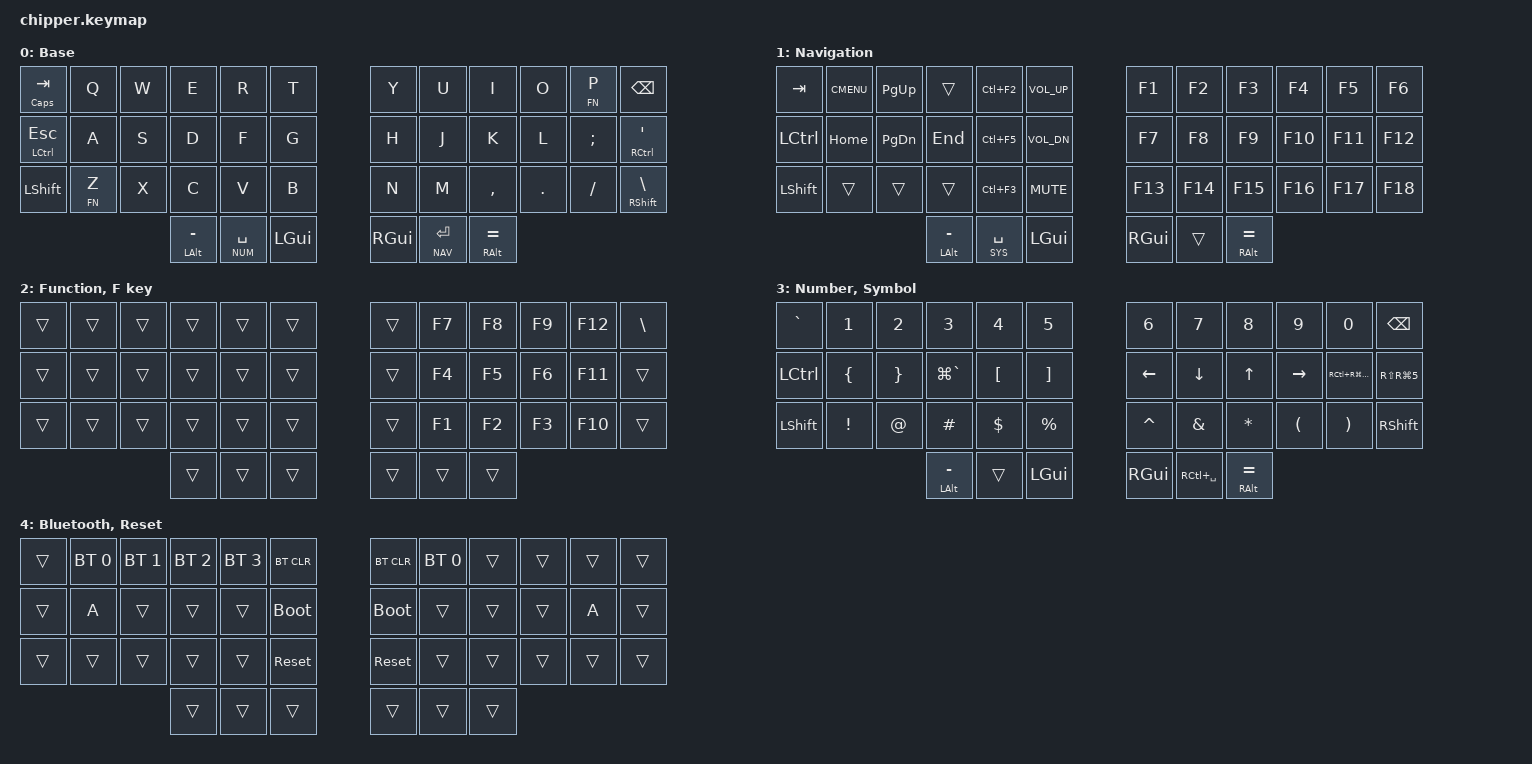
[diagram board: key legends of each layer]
// see https://zmk.dev/docs/keymaps
// see https://www.notion.so/lukan/2c5975d58577405cbcacdcdd84d68cf8

#include <behaviors.dtsi>
#include <dt-bindings/zmk/keys.h>
#include <dt-bindings/zmk/bt.h>
#include <dt-bindings/zmk/outputs.h>

#define XXX &none
#define ___ &trans

#define COMBO_TIMEOUT 60

#define DEF 0
#define NAV 1
#define FN 2
#define NUM 3
#define SYS 4

/ {
    macros {
	nayeon: nayeon {
            compatible = "zmk,behavior-macro";
            #binding-cells = <0>;
            bindings
                = <&macro_tap_time 10>
		,<&macro_tap &kp N &kp A &kp Y &kp E &kp O &kp N &kp RET>;
        };
    };
};

/ {
    combos {
        compatible = "zmk,combos";
	 combo_cw {
            timeout-ms = <COMBO_TIMEOUT>;
            key-positions = <6 30>;
            bindings = <&nayeon>;
        };
    };
};

/ {
        bht: balanced_hold_taps {
            compatible = "zmk,behavior-hold-tap";
            #binding-cells = <2>;
            tapping-term-ms = <280>;    // <---[[moderate duration]]
            flavor = "balanced";
            bindings = <&kp>, <&kp>;
            quick-tap-ms = <175>;       // repeat on tap-into-hold
            require-prior-idle-ms = <150>;
        };
    };
/ {
    conditional_layers {
        compatible = "zmk,conditional-layers";
        tri_layer {
            if-layers = <1 2>;
            then-layer = <4>;
        };
    };
};

/ {
        keymap {
                compatible = "zmk,keymap";

                DEF_layer {
                        display-name = "Base";
                        bindings = <
            //╭──────╮ ╭─────────────┬─────────────┬─────────────┬─────────────┬─────────────╮   ╭─────────────┬─────────────┬─────────────┬─────────────┬─────────────╮ ╭──────╮
&bht CAPS TAB              &kp Q         &kp W         &kp E         &kp R         &kp T             &kp Y         &kp U         &kp I         &kp O       &lt FN P      &kp BSPC
            //├──────┤ ├─────────────┼─────────────┼─────────────┼─────────────┼─────────────┤   ├─────────────┼──────[───────┼────────────┼─────────────┼─────────────┤ ├──────┤
&bht LCTRL ESC             &kp A         &kp S         &kp D         &kp F         &kp G             &kp H         &kp J         &kp K         &kp L       &kp SEMI      &bht RCTRL SQT
            //├──────┤ ├─────────────┼─────────────┼─────────────┼─────────────┼─────────────┤   ├─────────────┼─────────────┼─────────────┼─────────────┼─────────────┤ ├──────┤
&kp LSHFT                  &lt FN Z      &kp X         &kp C         &kp V         &kp B             &kp N         &kp M         &kp COMMA     &kp DOT     &kp SLASH     &bht RSHFT BACKSLASH
            //├──────┤ ╰─────────────┼─────────────┴─────────────┼─────────────┼─────────────┤   ├─────────────┼─────────────┼─────────────┴───────────────────────────╯ ├──────┤
                                                    &bht LALT MINUS  &lt NUM SPC   &kp LGUI          &kp RGUI     &lt NAV RET  &bht RALT EQUAL
             //                                    ╰────────────┼──────────────┴─────────────╯   ╰─────────────┴─────────────┼─────────────╯
                        >;
                };

                

                NAV_layer {
                        display-name = "Navigation";
                        bindings = <
//╭──────╮ ╭─────────────┬─────────────┬─────────────┬─────────────┬─────────────╮ ╭─────────────┬─────────────┬─────────────┬─────────────┬─────────────╮ ╭──────╮
&kp TAB        &kp K_CMENU    &kp PG_UP     ___           &kp LC(F2)  &kp C_VOL_UP      &kp F1        &kp F2        &kp F3        &kp F4       &kp F5       &kp F6 
//├──────┤ ├─────────────┼─────────────┼─────────────┼───Menu Bar──┼─────────────┤ ├─────────────┼─────────────┼─────────────┼─────────────┼─────────────┤ ├──────┤
&kp LCTRL      &kp HOME       &kp PG_DN     &kp END       &kp LC(F5)  &kp C_VOL_DN      &kp F7        &kp F8        &kp F9        &kp F10      &kp F11      &kp F12
//├──────┤ ├─────────────┼─────────────┼─────────────┼───Tool Bar──┼─────────────┤ ├─────────────┼─────────────┼─────────────┼─────────────┼─────────────┤ ├──────┤
&kp LSHFT      ___            ___           ___           &kp LC(F3)  &kp C_MUTE        &kp F13       &kp F14       &kp F15       &kp F16      &kp F17      &kp F18
//├──────┤ ╰─────────────┼─────────────┴─────────────┼─────Dock────┼─────────────┤ ├─────────────┼─────────────┼─────────────┴───────────────────────────╯ ├──────┤
                                         &bht LALT MINUS  &lt SYS SPC &kp LGUI          &kp RGUI       ___       &bht RALT EQUAL
//                                      ╰────────────╰─────────────┴─────────────╯ ╰─────────────┴─────────────╯─────────────╯                                           
                        >;
                };

                FN_layer {
                        display-name = "Function, F key";
                        bindings = <
//╭──────╮ ╭─────────────┬─────────────┬─────────────┬─────────────┬─────────────╮ ╭─────────────┬─────────────┬─────────────┬─────────────┬─────────────╮ ╭──────╮
    ___        ___         ___           ___           ___          ___              ___            &kp F7        &kp F8        &kp F9         &kp F12       &kp BACKSLASH
//├──────┤ ├─────────────┼─────────────┼─────────────┼─────────────┼─────────────┤ ├─────────────┼─────────────┼─────────────┼─────────────┼─────────────┤ ├──────┤
    ___        ___         ___           ___           ___          ___              ___            &kp F4        &kp F5        &kp F6         &kp F11       ___
//├──────┤ ├─────────────┼─────────────┼─────────────┼─────────────┼─────────────┤ ├─────────────┼─────────────┼─────────────┼─────────────┼─────────────┤ ├──────┤
    ___        ___         ___           ___           ___          ___              ___            &kp F1        &kp F2        &kp F3         &kp F10       ___
//├──────┤ ╰─────────────┼─────────────┴─────────────┼─────────────┼─────────────┤ ├─────────────┼─────────────┼─────────────┴───────────────────────────╯ ├──────┤
                                               ___        ___           ___            ___           ___           ___                                       
//                                           ╰──────╯╰─────────────┴─────────────╯ ╰─────────────┴─────────────╯╰──────╯                                           
                        >;
		};
		
		        NUM_layer {
                        display-name = "Number, Symbol";
                        bindings = <
//╭──────╮ ╭─────────────┬─────────────┬─────────────┬─────────────┬─────────────╮ ╭──────────────┬──────────────┬─────────────┬─────────────┬─────────────╮ ╭──────╮
  &kp GRAVE     &kp N1       &kp N2        &kp N3        &kp N4        &kp N5           &kp N6         &kp N7         &kp N8       &kp N9       &kp N0          &kp BSPC 
//├──`~──┤ ├──────1!─────┼──────2@─────┼──────3#─────┼─────4$──────┼──────5%─────┤ ├──────6^──────┼──────7&──────┼─────8*──────┼─────9(──────┼─────0)──────┤ ├──────┤
  &kp LCTRL     &kp LBRC     &kp RBRC      &kp LG(GRAVE) &kp LBKT      &kp RBKT         &kp LEFT       &kp DOWN       &kp UP       &kp RIGHT    &kp RC(RG(RS(N4)))  &kp RS(RG(N5)) 
//├──────┤ ├──────{──────┼──────}──────┼─────────────┼──────[──────┼──────]──────┤ ├──────⬅──────┼──────⬇───────┼──────⬆─────┼──────⮕─────┼─────────────┤ ├──────┤
  &kp LSHFT     &kp EXCL     &kp AT        &kp HASH      &kp DOLLAR    &kp PERCENT      &kp CARET      &kp AMPS       &kp STAR     &kp LPAR     &kp RPAR        &kp RSHFT
//├──────┤ ╰──────!──────┼──────@──────┴──────#──────┼──────$──────┼──────%──────┤ ├──────^───────┼──────&───────┼──────*──────┼──────(──────┼──────)──────╯ ╰──────╯
                                         &bht LALT MINUS   ___         &kp LGUI         &kp RGUI       &kp RC(SPC)    &bht RALT EQUAL                                   
//                                     ╰─────────────┴─────────────┴─────────────╯ ╰──────────────┴──────────────┼─────────────╯                                     
                        >;
		};

                        		SYS_layer {
                        display-name = "Bluetooth, Reset";
                        bindings = <
//╭──────╮ ╭─────────────┬─────────────┬─────────────┬─────────────┬─────────────╮ ╭─────────────┬─────────────┬─────────────┬─────────────┬─────────────╮ ╭──────╮
    ___    &bt BT_SEL 0   &bt BT_SEL 1  &bt BT_SEL 2  &bt BT_SEL 3   &bt BT_CLR       &bt BT_CLR    &bt BT_SEL 0  ___           ___           ___             ___
//├──────┤ ├─────────────┼─────────────┼─────────────┼─────────────┼─────────────┤ ├─────────────┼─────────────┼─────────────┼─────────────┼─────────────┤ ├──────┤
    ___     &kp A         ___           ___           ___            &bootloader      &bootloader   ___           ___           ___           &kp A           ___
//├──────┤ ├─────────────┼─────────────┼─────────────┼─────────────┼─────────────┤ ├─────────────┼─────────────┼─────────────┼─────────────┼─────────────┤ ├──────┤
    ___     ___           ___           ___           ___            &sys_reset       &sys_reset    ___           ___           ___           ___             ___
//├──────┤ ╰─────────────┼─────────────┴─────────────┼─────────────┼─────────────┤ ├─────────────┼─────────────┼─────────────┴───────────────────────────╯ ├──────┤
    ___                                                ___           ___              ___           ___                                                       ___
//╰──────╯                                           ╰─────────────┴─────────────╯ ╰─────────────┴─────────────╯                                           ╰──────╯
                        >;
		};

        };
};
